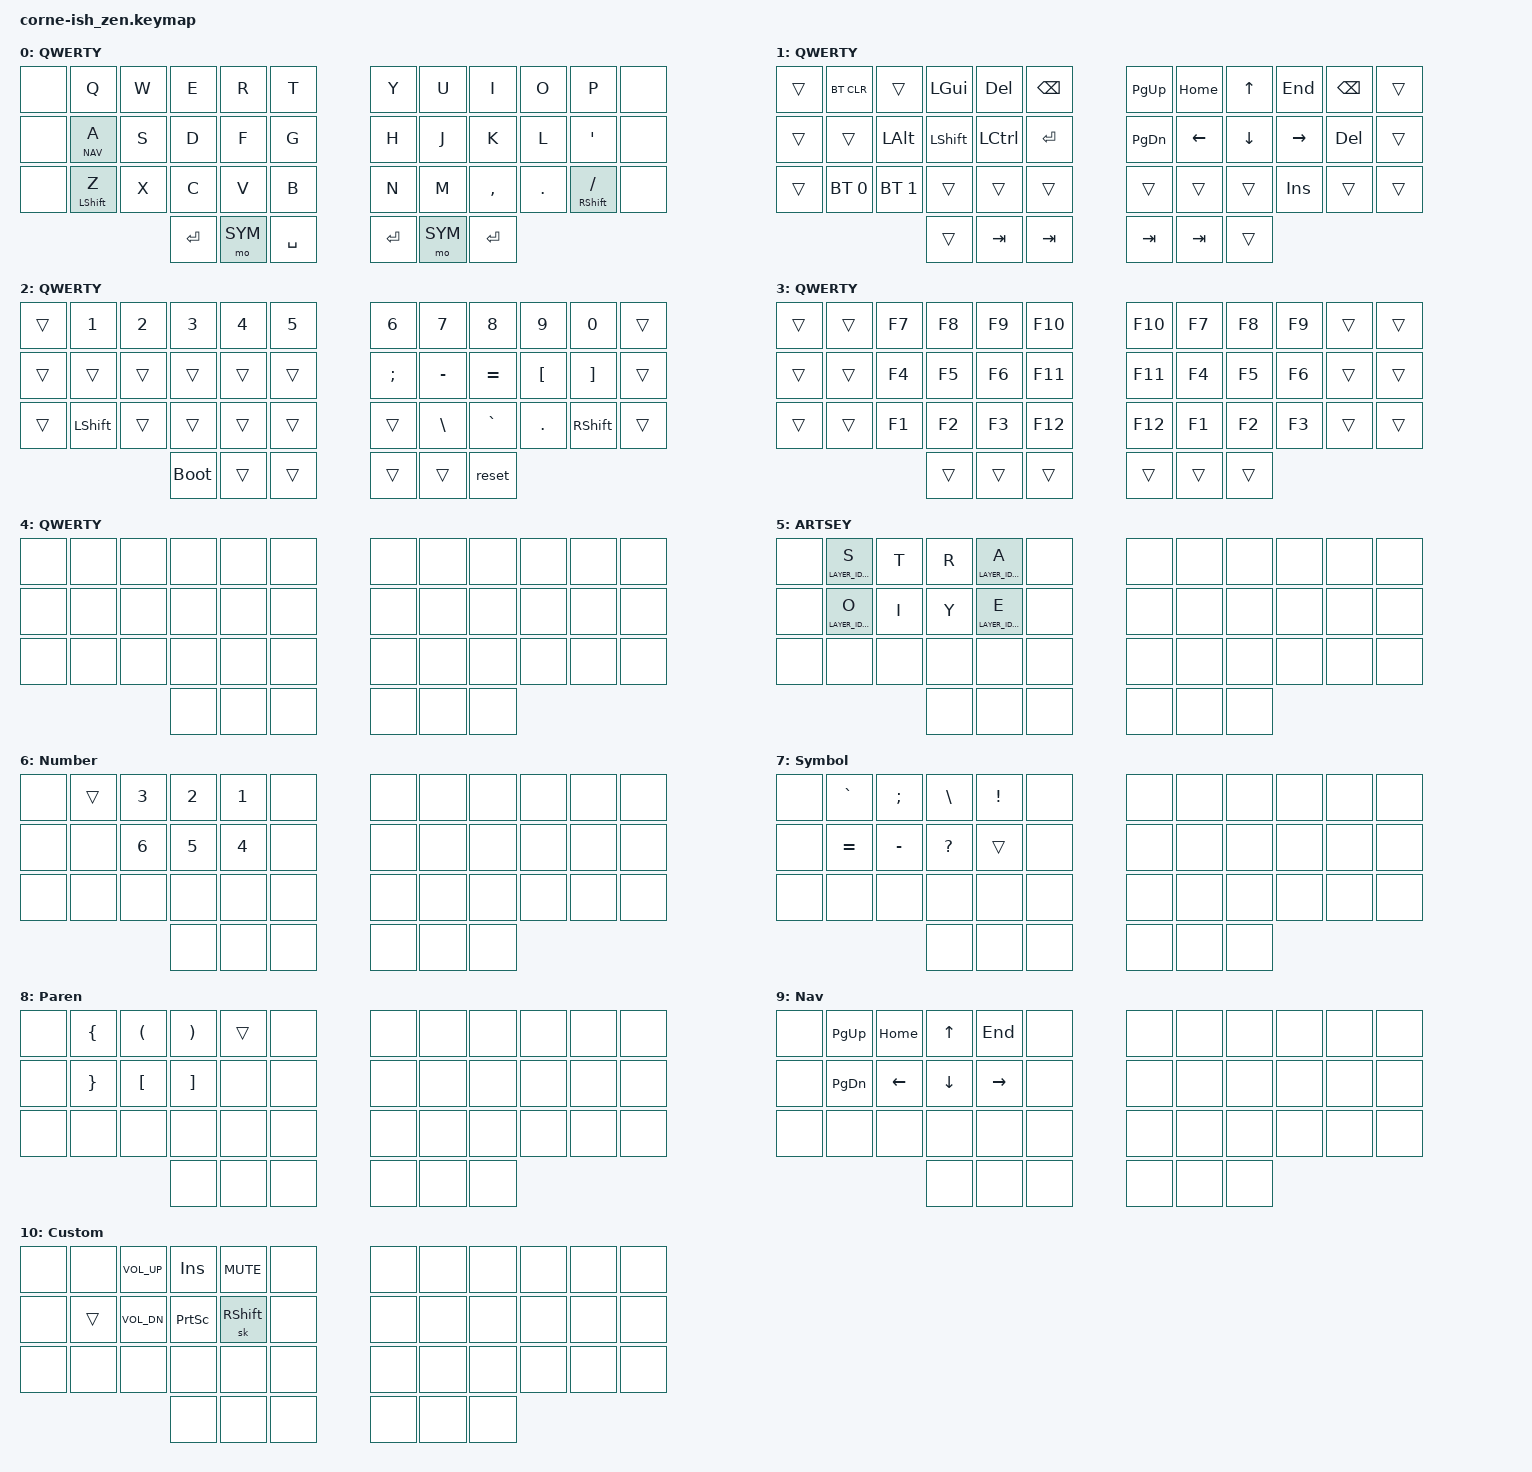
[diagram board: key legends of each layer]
/*
*
* Copyright (c) 2021 Darryl deHaan
* SPDX-License-Identifier: MIT
*
*/

////////////////////////////////////////
// Various includes
#include <behaviors.dtsi>
#include <dt-bindings/zmk/keys.h>
#include <dt-bindings/zmk/bt.h>

#define COMBO_TIMEOUT <30>

////////////////////////////////////////
// Layers
#define BASE    0
#define NAV     1
#define SYM     2
#define FUNC    3
#define DISABLE 4
#define LAYER_ID_ART_BASE           5
#define LAYER_ID_ART_NUMBERS        6
#define LAYER_ID_ART_SYMBOLS        7
#define LAYER_ID_ART_PARENTHETICALS 8
#define LAYER_ID_ART_NAVIGATION     9
#define LAYER_ID_ART_CUSTOM         10

#define LAYERS_NOT_ART BASE NAV SYM FUNC
#define LAYERS_ARTSEY LAYER_ID_ART_BASE LAYER_ID_ART_NUMBERS LAYER_ID_ART_SYMBOLS LAYER_ID_ART_PARENTHETICALS LAYER_ID_ART_NAVIGATION LAYER_ID_ART_CUSTOM
#define LAYERS_ARTSEY_BASE BASE LAYER_ID_ART_BASE
#define LAYERS_ARTSEY_PLUS BASE LAYERS_ARTSEY

////////////////////////////////////////
// Artsey definitions
#define TIMEOUT_COMBO_2 40
#define TIMEOUT_COMBO_3 40
#define TIMEOUT_COMBO_4 40
#define TIMEOUT_LAYER_HOLD 200
#define ARTSEY_BASE_A A
#define ARTSEY_BASE_R R
#define ARTSEY_BASE_T T
#define ARTSEY_BASE_S S
#define ARTSEY_BASE_E E
#define ARTSEY_BASE_Y Y
#define ARTSEY_BASE_I I
#define ARTSEY_BASE_O O
#define ARTSEY_COMBO_N N
#define KEY_A 4
#define KEY_R 3
#define KEY_T 2
#define KEY_S 1
#define KEY_E 16
#define KEY_Y 15
#define KEY_I 14
#define KEY_O 13

#define _______ &trans
#define XXXXXXX &none

////////////////////////////////////////
// Sticky / Leader Keys / Hold Tap Keys
&mt {
    tapping-term-ms = <150>;
    flavor = "hold-preferred";
};

&sk {
    release-after-ms = <1000>;
};

&sl {
    release-after-ms = <1000>;
};

////////////////////////////////////////
// Behaviors
/ {

behaviors {
    // Sticky key on tap, keypress on hold
    st: sticky_tap {
        compatible = "zmk,behavior-hold-tap";
        label = "STICKY_TAP";
        #binding-cells = <2>;
        tapping-term-ms = <250>;
        flavor = "tap-preferred";
        bindings = <&kp>, <&sk>;
    };

    ////////////////////////////////////////
    // Artsey bindings
    artmt: artmt { compatible = "zmk,behavior-hold-tap"; label = "artmt"; 
        #binding-cells = <2>; tapping_term_ms = <TIMEOUT_LAYER_HOLD>; flavor = "tap-preferred"; 
        bindings = <&mo>, <&kp>; };

    ////////////////////////////////////////
    // Combos
    combos {
        compatible = "zmk,combos";

        combo_disable { timeout-ms = COMBO_TIMEOUT; key-positions = <1 10>; bindings = <&tog DISABLE>; };

        // Escape, Tab, Enter, Backspace, Del
        combo_esc   { layers = <LAYERS_NOT_ART>; timeout-ms = COMBO_TIMEOUT; key-positions = <2 3>;   bindings = <&kp ESC>; };
        combo_tab   { layers = <LAYERS_NOT_ART>; timeout-ms = COMBO_TIMEOUT; key-positions = <14 15>; bindings = <&kp TAB>; };
        combo_bspc  { layers = <LAYERS_NOT_ART>; timeout-ms = COMBO_TIMEOUT; key-positions = <8 9>;   bindings = <&kp BKSP>; };
        combo_del   { layers = <LAYERS_NOT_ART>; timeout-ms = COMBO_TIMEOUT; key-positions = <9 10>;  bindings = <&kp DEL>; };
        combo_enter { layers = <LAYERS_NOT_ART>; timeout-ms = COMBO_TIMEOUT; key-positions = <20 21>; bindings = <&kp ENTER>; };

        // Sticky tap CTRL, ALT, GUI
        combo_lgui  { layers = <BASE>; timeout-ms = COMBO_TIMEOUT; key-positions = <2 4>;           bindings = <&st LGUI LGUI>; };
        combo_lctrl { layers = <BASE>; timeout-ms = COMBO_TIMEOUT; key-positions = <14 16>;         bindings = <&st LCTRL LCTRL>; };
        combo_lalt  { layers = <BASE>; timeout-ms = COMBO_TIMEOUT; key-positions = <26 28>;         bindings = <&st LALT LALT>; };

        combo_ralt  { layers = <BASE>; timeout-ms = COMBO_TIMEOUT; key-positions = <7 9>;           bindings = <&st RALT RALT>; };
        combo_rctrl { layers = <BASE>; timeout-ms = COMBO_TIMEOUT; key-positions = <19 21>;         bindings = <&st RCTRL RCTRL>; };
        combo_rgui  { layers = <BASE>; timeout-ms = COMBO_TIMEOUT; key-positions = <31 33>;         bindings = <&st RGUI RGUI>; };

        // Cut, Copy, Paste
        combo_cut   { layers = <BASE LAYERS_ARTSEY>; timeout-ms = COMBO_TIMEOUT; key-positions = <26 27 28>;      bindings = <&kp LC(X)>; };
        combo_copy  { layers = <BASE LAYERS_ARTSEY>; timeout-ms = COMBO_TIMEOUT; key-positions = <26 27>;         bindings = <&kp LC(C)>; };
        combo_paste { layers = <BASE LAYERS_ARTSEY>; timeout-ms = COMBO_TIMEOUT; key-positions = <27 28>;         bindings = <&kp LC(V)>; };

        // Function layer
        combo_func  { layers = <BASE>; timeout-ms = COMBO_TIMEOUT; key-positions = <15 16>;         bindings = <&sl FUNC>; };

        ////////////////////////////////////////
        // Artsey Combos
        combo_artsey { timeout-ms = COMBO_TIMEOUT; key-positions = <25 28>; bindings = <&tog LAYER_ID_ART_BASE>; };

		/*****************************************
		 * 2 key combos
		 *****************************************/
		combo_art_enter      { layers = <LAYERS_ARTSEY>; timeout-ms = <TIMEOUT_COMBO_2>; key-positions = <KEY_A KEY_E>; bindings = <&kp ENTER>; };
		combo_art_control    { layers = <LAYERS_ARTSEY>; timeout-ms = <TIMEOUT_COMBO_2>; key-positions = <KEY_E KEY_S>; bindings = <&sk RCTRL>; };
		combo_art_gui        { layers = <LAYERS_ARTSEY>; timeout-ms = <TIMEOUT_COMBO_2>; key-positions = <KEY_Y KEY_S>; bindings = <&sk LGUI>; };
		combo_art_alt        { layers = <LAYERS_ARTSEY>; timeout-ms = <TIMEOUT_COMBO_2>; key-positions = <KEY_I KEY_S>; bindings = <&sk LALT>; };
		combo_art_backspace  { layers = <LAYERS_ARTSEY>; timeout-ms = <TIMEOUT_COMBO_2>; key-positions = <KEY_E KEY_R>; bindings = <&kp BACKSPACE>; };
		combo_art_delete     { layers = <LAYERS_ARTSEY>; timeout-ms = <TIMEOUT_COMBO_2>; key-positions = <KEY_I KEY_R>; bindings = <&kp DELETE>; };
		//combo_art_shift_lock { layers = <LAYERS_ARTSEY>; timeout-ms = <TIMEOUT_COMBO_2>; key-positions = <KEY_R KEY_Y>; bindings = <&kt LSHFT>; };

		combo_art_b           { layers = <LAYER_ID_ART_BASE>; timeout-ms = <TIMEOUT_COMBO_2>; key-positions = <KEY_E KEY_O>; bindings = <&kp B>; };
		combo_art_c           { layers = <LAYER_ID_ART_BASE>; timeout-ms = <TIMEOUT_COMBO_2>; key-positions = <KEY_E KEY_Y>; bindings = <&kp C>; };
		combo_art_n           { layers = <LAYER_ID_ART_BASE>; timeout-ms = <TIMEOUT_COMBO_2>; key-positions = <KEY_I KEY_O>; bindings = <&kp ARTSEY_COMBO_N>; };
		combo_art_f           { layers = <LAYER_ID_ART_BASE>; timeout-ms = <TIMEOUT_COMBO_2>; key-positions = <KEY_A KEY_R>; bindings = <&kp F>; };
		combo_art_g           { layers = <LAYER_ID_ART_BASE>; timeout-ms = <TIMEOUT_COMBO_2>; key-positions = <KEY_R KEY_T>; bindings = <&kp G>; };
		combo_art_u           { layers = <LAYER_ID_ART_BASE>; timeout-ms = <TIMEOUT_COMBO_2>; key-positions = <KEY_Y KEY_I>; bindings = <&kp U>; };
		combo_art_h           { layers = <LAYER_ID_ART_BASE>; timeout-ms = <TIMEOUT_COMBO_2>; key-positions = <KEY_E KEY_I>; bindings = <&kp H>; };
		combo_art_v           { layers = <LAYER_ID_ART_BASE>; timeout-ms = <TIMEOUT_COMBO_2>; key-positions = <KEY_R KEY_S>; bindings = <&kp V>; };
		combo_art_j           { layers = <LAYER_ID_ART_BASE>; timeout-ms = <TIMEOUT_COMBO_2>; key-positions = <KEY_T KEY_S>; bindings = <&kp J>; };
		combo_art_w           { layers = <LAYER_ID_ART_BASE>; timeout-ms = <TIMEOUT_COMBO_2>; key-positions = <KEY_A KEY_S>; bindings = <&kp W>; };
		combo_art_k           { layers = <LAYER_ID_ART_BASE>; timeout-ms = <TIMEOUT_COMBO_2>; key-positions = <KEY_Y KEY_O>; bindings = <&kp K>; };
		combo_art_comma       { layers = <LAYER_ID_ART_BASE>; timeout-ms = <TIMEOUT_COMBO_2>; key-positions = <KEY_A KEY_Y>; bindings = <&kp COMMA>; };
		combo_art_period      { layers = <LAYER_ID_ART_BASE>; timeout-ms = <TIMEOUT_COMBO_2>; key-positions = <KEY_A KEY_I>; bindings = <&kp PERIOD>; };
		combo_art_slash       { layers = <LAYER_ID_ART_BASE>; timeout-ms = <TIMEOUT_COMBO_2>; key-positions = <KEY_A KEY_O>; bindings = <&kp SLASH>; };
		combo_art_exclamation { layers = <LAYER_ID_ART_BASE>; timeout-ms = <TIMEOUT_COMBO_2>; key-positions = <KEY_T KEY_I>; bindings = <&kp EXCL>; };
		
		combo_art_seven { layers = <LAYER_ID_ART_NUMBERS>; timeout-ms = <TIMEOUT_COMBO_2>; key-positions = <KEY_A KEY_R>; bindings = <&kp N7>; };
		combo_art_eight { layers = <LAYER_ID_ART_NUMBERS>; timeout-ms = <TIMEOUT_COMBO_2>; key-positions = <KEY_R KEY_T>; bindings = <&kp N8>; };
		combo_art_nine  { layers = <LAYER_ID_ART_NUMBERS>; timeout-ms = <TIMEOUT_COMBO_2>; key-positions = <KEY_E KEY_Y>; bindings = <&kp N9>; };
		combo_art_zero  { layers = <LAYER_ID_ART_NUMBERS>; timeout-ms = <TIMEOUT_COMBO_2>; key-positions = <KEY_Y KEY_I>; bindings = <&kp N0>; };

        /*****************************************
		 * 3 key combos
		 *****************************************/
		combo_art_esc              { layers = <LAYERS_ARTSEY>; timeout-ms = <TIMEOUT_COMBO_3>; key-positions = <KEY_A KEY_R KEY_O>; bindings = <&kp ESC>; };
		combo_art_layer_navigation { layers = <BASE LAYERS_ARTSEY>; timeout-ms = <TIMEOUT_COMBO_3>; key-positions = <KEY_R KEY_E KEY_I>; bindings = <&tog LAYER_ID_ART_NAVIGATION>; };

		combo_art_m            { layers = <LAYER_ID_ART_BASE>; timeout-ms = <TIMEOUT_COMBO_3>; key-positions = <KEY_Y KEY_I KEY_O>; bindings = <&kp M>; };
		combo_art_d            { layers = <LAYER_ID_ART_BASE>; timeout-ms = <TIMEOUT_COMBO_3>; key-positions = <KEY_A KEY_R KEY_T>; bindings = <&kp D>; };
		combo_art_p            { layers = <LAYER_ID_ART_BASE>; timeout-ms = <TIMEOUT_COMBO_3>; key-positions = <KEY_E KEY_I KEY_O>; bindings = <&kp P>; };
		combo_art_q            { layers = <LAYER_ID_ART_BASE>; timeout-ms = <TIMEOUT_COMBO_3>; key-positions = <KEY_A KEY_T KEY_S>; bindings = <&kp Q>; };
		combo_art_x            { layers = <LAYER_ID_ART_BASE>; timeout-ms = <TIMEOUT_COMBO_3>; key-positions = <KEY_R KEY_T KEY_S>; bindings = <&kp X>; };
		combo_art_l            { layers = <LAYER_ID_ART_BASE>; timeout-ms = <TIMEOUT_COMBO_3>; key-positions = <KEY_E KEY_Y KEY_I>; bindings = <&kp L>; };
		combo_art_single_quote { layers = <LAYER_ID_ART_BASE>; timeout-ms = <TIMEOUT_COMBO_3>; key-positions = <KEY_A KEY_Y KEY_I>; bindings = <&kp SQT>; };

        /*****************************************
		 * 4 key combos
		 *****************************************/
		combo_art_tab             { layers = <LAYERS_ARTSEY>; timeout-ms = <TIMEOUT_COMBO_4>; key-positions = <KEY_A KEY_R KEY_T KEY_O>; bindings = <&kp TAB>; };
		combo_art_space           { layers = <LAYERS_ARTSEY>; timeout-ms = <TIMEOUT_COMBO_4>; key-positions = <KEY_E KEY_Y KEY_I KEY_O>; bindings = <&kp SPACE>; };
		combo_art_shift           { layers = <LAYERS_ARTSEY>; timeout-ms = <TIMEOUT_COMBO_4>; key-positions = <KEY_E KEY_R KEY_T KEY_S>; bindings = <&sk LSHFT>; };

		combo_art_z         { layers = <LAYER_ID_ART_BASE>; timeout-ms = <TIMEOUT_COMBO_4>; key-positions = <KEY_A KEY_R KEY_T KEY_S>; bindings = <&kp Z>; };
		combo_art_caps_lock { layers = <LAYER_ID_ART_BASE>; timeout-ms = <TIMEOUT_COMBO_4>; key-positions = <KEY_O KEY_I KEY_Y KEY_A>; bindings = <&kp CAPS>; };
    };
};

keymap {
compatible = "zmk,keymap";

    default_layer {
        label = "QWERTY";
        bindings = <
           XXXXXXX         &kp Q           &kp W           &kp E           &kp R           &kp T           &kp Y           &kp U           &kp I           &kp O           &kp P           XXXXXXX
           XXXXXXX         &lt NAV A       &kp S           &kp D           &kp F           &kp G           &kp H           &kp J           &kp K           &kp L           &kp APOS        XXXXXXX
           XXXXXXX         &mt LSHFT Z     &kp X           &kp C           &kp V           &kp B           &kp N           &kp M           &kp COMMA       &kp DOT         &mt RSHFT FSLH  XXXXXXX
                                                           &kp ENTER       &mo SYM         &kp SPC         &kp ENTER       &mo SYM         &kp ENTER
        >;
    };

    nav_layer {
        label = "QWERTY";
        bindings = <
            _______         &bt BT_CLR      _______         &kp LGUI        &kp DEL         &kp BSPC        &kp PG_UP       &kp HOME        &kp UP          &kp END         &kp BKSP        _______
            _______         _______         &kp LALT        &kp LSHFT       &kp LCTRL       &kp ENTER       &kp PG_DN       &kp LEFT        &kp DOWN        &kp RIGHT       &kp DEL         _______
            _______         &bt BT_SEL 0    &bt BT_SEL 1    _______         _______         _______         _______         _______         _______         &kp INS         _______         _______
            _______         &kp TAB         &kp TAB         &kp TAB         &kp TAB         _______
        >;
    };

    sym_layer {
        label = "QWERTY";
        bindings = <
            _______         &kp N1          &kp N2          &kp N3          &kp N4          &kp N5          &kp N6          &kp N7          &kp N8          &kp N9          &kp N0          _______
            _______         _______         _______         _______         _______         _______         &kp SEMI        &kp MINUS       &kp EQUAL       &kp LBKT        &kp RBKT        _______
            _______         &kp LSHFT       _______         _______         _______         _______         _______         &kp BSLH        &kp GRAVE       &kp DOT         &kp RSHFT       _______
            &bootloader     _______         _______         _______         _______         &reset
        >;
    };

    func_layer {
        label = "QWERTY";
        bindings = <
            _______         _______         &kp F7          &kp F8          &kp F9          &kp F10         &kp F10         &kp F7          &kp F8          &kp F9          _______         _______
            _______         _______         &kp F4          &kp F5          &kp F6          &kp F11         &kp F11         &kp F4          &kp F5          &kp F6          _______         _______
            _______         _______         &kp F1          &kp F2          &kp F3          &kp F12         &kp F12         &kp F1          &kp F2          &kp F3          _______         _______
            _______         _______         _______         _______         _______         _______
        >;
    };

    disable_layer {
        label = "QWERTY";
        bindings = <
            XXXXXXX         XXXXXXX         XXXXXXX         XXXXXXX         XXXXXXX         XXXXXXX         XXXXXXX         XXXXXXX         XXXXXXX         XXXXXXX         XXXXXXX         XXXXXXX
            XXXXXXX         XXXXXXX         XXXXXXX         XXXXXXX         XXXXXXX         XXXXXXX         XXXXXXX         XXXXXXX         XXXXXXX         XXXXXXX         XXXXXXX         XXXXXXX
            XXXXXXX         XXXXXXX         XXXXXXX         XXXXXXX         XXXXXXX         XXXXXXX         XXXXXXX         XXXXXXX         XXXXXXX         XXXXXXX         XXXXXXX         XXXXXXX
            XXXXXXX         XXXXXXX         XXXXXXX         XXXXXXX         XXXXXXX         XXXXXXX
        >;
    };

    artsey_base {
        label = "ARTSEY";
        bindings = <
            XXXXXXX         &lt LAYER_ID_ART_NUMBERS ARTSEY_BASE_S       &kp ARTSEY_BASE_T               &kp ARTSEY_BASE_R               &lt LAYER_ID_ART_PARENTHETICALS ARTSEY_BASE_A         XXXXXXX         XXXXXXX         XXXXXXX         XXXXXXX         XXXXXXX         XXXXXXX         XXXXXXX
            XXXXXXX         &lt LAYER_ID_ART_CUSTOM ARTSEY_BASE_O        &kp ARTSEY_BASE_I               &kp ARTSEY_BASE_Y               &lt LAYER_ID_ART_SYMBOLS ARTSEY_BASE_E                XXXXXXX         XXXXXXX         XXXXXXX         XXXXXXX         XXXXXXX         XXXXXXX         XXXXXXX
            XXXXXXX         XXXXXXX         XXXXXXX         XXXXXXX         XXXXXXX         XXXXXXX         XXXXXXX         XXXXXXX         XXXXXXX         XXXXXXX         XXXXXXX         XXXXXXX
            XXXXXXX         XXXXXXX         XXXXXXX         XXXXXXX         XXXXXXX         XXXXXXX
        >;
    };

    artsey_numbers {
        label = "Number";
        bindings = <
            XXXXXXX         _______         &kp N3          &kp N2          &kp N1          XXXXXXX         XXXXXXX         XXXXXXX         XXXXXXX         XXXXXXX         XXXXXXX         XXXXXXX
            XXXXXXX         XXXXXXX         &kp N6          &kp N5          &kp N4          XXXXXXX         XXXXXXX         XXXXXXX         XXXXXXX         XXXXXXX         XXXXXXX         XXXXXXX
            XXXXXXX         XXXXXXX         XXXXXXX         XXXXXXX         XXXXXXX         XXXXXXX         XXXXXXX         XXXXXXX         XXXXXXX         XXXXXXX         XXXXXXX         XXXXXXX
            XXXXXXX         XXXXXXX         XXXXXXX         XXXXXXX         XXXXXXX         XXXXXXX
        >;
    };

    artsey_symbols {
        label = "Symbol";
        bindings = <
            XXXXXXX         &kp GRAVE       &kp SEMI        &kp BSLH        &kp EXCL        XXXXXXX         XXXXXXX         XXXXXXX         XXXXXXX         XXXXXXX         XXXXXXX         XXXXXXX
            XXXXXXX         &kp EQUAL       &kp MINUS       &kp QMARK       _______         XXXXXXX         XXXXXXX         XXXXXXX         XXXXXXX         XXXXXXX         XXXXXXX         XXXXXXX
            XXXXXXX         XXXXXXX         XXXXXXX         XXXXXXX         XXXXXXX         XXXXXXX         XXXXXXX         XXXXXXX         XXXXXXX         XXXXXXX         XXXXXXX         XXXXXXX
            XXXXXXX         XXXXXXX         XXXXXXX         XXXXXXX         XXXXXXX         XXXXXXX
        >;
    };

    artsey_parentheticals {
        label = "Paren";
        bindings = <
            XXXXXXX         &kp LBRC        &kp LPAR        &kp RPAR        _______         XXXXXXX         XXXXXXX         XXXXXXX         XXXXXXX         XXXXXXX         XXXXXXX         XXXXXXX
            XXXXXXX         &kp RBRC        &kp LBKT        &kp RBKT        XXXXXXX         XXXXXXX         XXXXXXX         XXXXXXX         XXXXXXX         XXXXXXX         XXXXXXX         XXXXXXX
            XXXXXXX         XXXXXXX         XXXXXXX         XXXXXXX         XXXXXXX         XXXXXXX         XXXXXXX         XXXXXXX         XXXXXXX         XXXXXXX         XXXXXXX         XXXXXXX
            XXXXXXX         XXXXXXX         XXXXXXX         XXXXXXX         XXXXXXX         XXXXXXX
        >;
    };

    artsey_navigation {
        label = "Nav";
        bindings = <
            XXXXXXX         &kp PG_UP       &kp HOME        &kp UP          &kp END         XXXXXXX         XXXXXXX         XXXXXXX         XXXXXXX         XXXXXXX         XXXXXXX         XXXXXXX
            XXXXXXX         &kp PG_DN       &kp LEFT        &kp DOWN        &kp RIGHT       XXXXXXX         XXXXXXX         XXXXXXX         XXXXXXX         XXXXXXX         XXXXXXX         XXXXXXX
            XXXXXXX         XXXXXXX         XXXXXXX         XXXXXXX         XXXXXXX         XXXXXXX         XXXXXXX         XXXXXXX         XXXXXXX         XXXXXXX         XXXXXXX         XXXXXXX
            XXXXXXX         XXXXXXX         XXXXXXX         XXXXXXX         XXXXXXX         XXXXXXX
        >;
    };

    artsey_custom {
        label = "Custom";
        bindings = <
            XXXXXXX         XXXXXXX         &kp C_VOL_UP    &kp INS         &kp C_MUTE      XXXXXXX         XXXXXXX         XXXXXXX         XXXXXXX         XXXXXXX         XXXXXXX         XXXXXXX
            XXXXXXX         _______         &kp C_VOL_DN    &kp PSCRN       &sk RSHFT       XXXXXXX         XXXXXXX         XXXXXXX         XXXXXXX         XXXXXXX         XXXXXXX         XXXXXXX
            XXXXXXX         XXXXXXX         XXXXXXX         XXXXXXX         XXXXXXX         XXXXXXX         XXXXXXX         XXXXXXX         XXXXXXX         XXXXXXX         XXXXXXX         XXXXXXX
            XXXXXXX         XXXXXXX         XXXXXXX         XXXXXXX         XXXXXXX         XXXXXXX
        >;
    };
};

};
